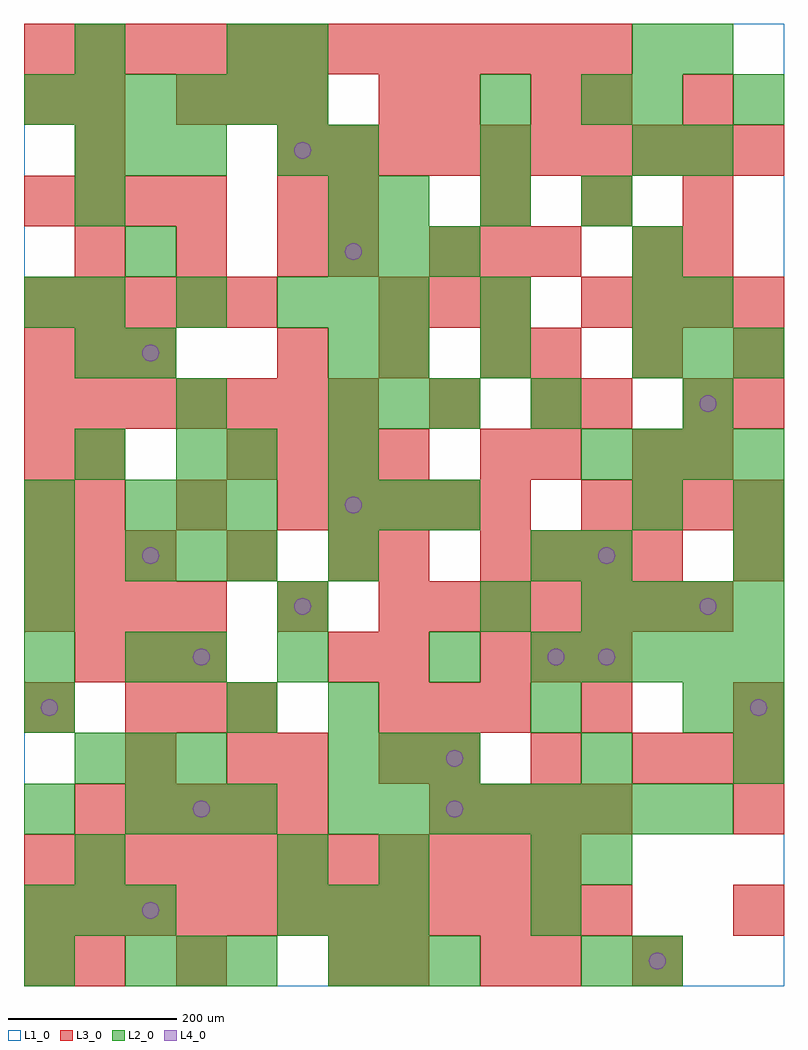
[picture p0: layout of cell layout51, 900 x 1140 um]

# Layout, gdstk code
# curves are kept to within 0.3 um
import gdstk
lib = gdstk.Library(unit=1e-6, precision=1e-09)
def R(c, l, rs):  # rectangles x0, y0, x1, y1
    for r in rs: c.add(gdstk.rectangle(r[:2], r[2:], *l))
def A(c, l, x, y, w, h, nx, ny, dx, dy):  # array of equal rectangles
    R(c, l, [(x+i*dx, y+j*dy, x+i*dx+w, y+j*dy+h) for i in range(nx) for j in range(ny)])
def P(c, l, *ps):  # polygons
    for p in ps: c.add(gdstk.Polygon(p, *l))
L1_0 = (1, 0)
L2_0 = (2, 0)
L3_0 = (3, 0)
L4_0 = (4, 0)

layout51 = lib.new_cell('layout51')
R(layout51, L1_0, [(0,0,900,1140)])
A(layout51, L2_0, 120, 0, 60, 60, 3, 2, 60, 180)
A(layout51, L2_0, 360, 0, 60, 60, 3, 2, 60, 240)
A(layout51, L2_0, 660, 0, 60, 60, 1, 3, 0, 120)
A(layout51, L2_0, 0, 60, 60, 60, 3, 1, 60, 0)
A(layout51, L2_0, 300, 60, 60, 60, 3, 1, 60, 0)
A(layout51, L2_0, 600, 120, 60, 60, 1, 4, 0, 180)
A(layout51, L2_0, 360, 180, 60, 60, 8, 1, 60, 0)
A(layout51, L2_0, 60, 240, 60, 60, 3, 2, 60, 720)
A(layout51, L2_0, 0, 300, 60, 60, 1, 5, 0, 60)
A(layout51, L2_0, 600, 360, 60, 60, 5, 1, 60, 0)
A(layout51, L2_0, 660, 420, 60, 60, 4, 2, 60, 180)
A(layout51, L2_0, 120, 480, 60, 60, 3, 2, 60, 60)
A(layout51, L2_0, 360, 480, 60, 60, 1, 3, 0, 120)
A(layout51, L2_0, 360, 540, 60, 60, 3, 2, 60, 120)
A(layout51, L2_0, 60, 720, 60, 60, 1, 3, 0, 180)
A(layout51, L2_0, 720, 720, 60, 60, 3, 1, 60, 0)
A(layout51, L2_0, 60, 780, 60, 60, 3, 1, 120, 0)
A(layout51, L2_0, 360, 840, 60, 60, 3, 1, 60, 0)
A(layout51, L2_0, 420, 900, 60, 60, 3, 1, 120, 0)
A(layout51, L2_0, 360, 960, 60, 60, 3, 1, 180, 0)
A(layout51, L2_0, 0, 1020, 60, 60, 6, 1, 60, 0)
R(layout51, L2_0, [(0,0,60,60), (720,0,780,60), (600,60,660,120), (60,120,120,180), (300,120,360,180), (420,120,480,180), (0,180,60,240), (840,240,900,300), (240,300,300,360), (360,300,420,360), (780,300,840,360), (840,300,900,360), (120,360,180,420), (180,360,240,420), (300,360,360,420), (480,360,540,420), (300,420,360,480), (540,420,600,480), (660,480,720,540), (840,480,900,540), (720,540,780,600), (840,540,900,600), (60,600,120,660), (180,600,240,660), (240,600,300,660), (180,660,240,720), (780,660,840,720), (120,720,180,780), (420,720,480,780), (540,720,600,780), (0,780,60,840), (360,780,420,840), (420,780,480,840), (540,780,600,840), (720,780,780,840), (780,780,840,840), (120,840,180,900), (720,840,780,900), (360,900,420,960), (300,960,360,1020), (780,960,840,1020), (540,1020,600,1080), (660,1020,720,1080), (720,1020,780,1080), (840,1020,900,1080), (240,1080,300,1140), (300,1080,360,1140), (720,1080,780,1140), (780,1080,840,1140)])
A(layout51, L3_0, 0, 60, 60, 60, 12, 2, 60, 1020)
A(layout51, L3_0, 0, 120, 60, 60, 11, 1, 60, 0)
A(layout51, L3_0, 60, 180, 60, 60, 5, 1, 60, 0)
A(layout51, L3_0, 480, 180, 60, 60, 4, 1, 60, 0)
A(layout51, L3_0, 840, 180, 60, 60, 1, 3, 0, 60)
A(layout51, L3_0, 420, 240, 60, 60, 1, 3, 0, 120)
A(layout51, L3_0, 480, 240, 60, 60, 3, 1, 120, 0)
A(layout51, L3_0, 120, 300, 60, 60, 3, 1, 60, 0)
A(layout51, L3_0, 420, 300, 60, 60, 3, 2, 60, 480)
A(layout51, L3_0, 660, 300, 60, 60, 1, 3, 0, 360)
A(layout51, L3_0, 60, 360, 60, 60, 3, 1, 60, 0)
A(layout51, L3_0, 540, 360, 60, 60, 3, 1, 60, 0)
A(layout51, L3_0, 0, 420, 60, 60, 4, 2, 60, 480)
A(layout51, L3_0, 420, 420, 60, 60, 7, 1, 60, 0)
A(layout51, L3_0, 0, 480, 60, 60, 3, 2, 60, 240)
A(layout51, L3_0, 540, 480, 60, 60, 4, 1, 60, 0)
A(layout51, L3_0, 60, 540, 60, 60, 3, 2, 120, 300)
A(layout51, L3_0, 360, 540, 60, 60, 4, 1, 60, 0)
A(layout51, L3_0, 660, 540, 60, 60, 4, 2, 60, 240)
A(layout51, L3_0, 240, 600, 60, 60, 4, 1, 60, 0)
A(layout51, L3_0, 0, 660, 60, 60, 7, 1, 60, 0)
A(layout51, L3_0, 780, 660, 60, 60, 1, 3, 0, 180)
A(layout51, L3_0, 300, 720, 60, 60, 3, 1, 120, 0)
A(layout51, L3_0, 600, 720, 60, 60, 3, 1, 120, 0)
A(layout51, L3_0, 0, 780, 60, 60, 5, 1, 60, 0)
A(layout51, L3_0, 480, 840, 60, 60, 3, 1, 60, 0)
A(layout51, L3_0, 540, 900, 60, 60, 3, 1, 120, 0)
A(layout51, L3_0, 300, 960, 60, 60, 10, 1, 60, 0)
A(layout51, L3_0, 180, 1020, 60, 60, 3, 1, 60, 0)
R(layout51, L3_0, [(0,0,60,60), (60,0,120,60), (180,0,240,60), (360,0,420,60), (420,0,480,60), (540,0,600,60), (600,0,660,60), (720,0,780,60), (840,60,900,120), (120,240,180,300), (240,240,300,300), (300,240,360,300), (780,240,840,300), (0,300,60,360), (360,360,420,420), (300,420,360,480), (240,480,300,540), (360,480,420,540), (840,480,900,540), (0,540,60,600), (0,600,60,660), (60,600,120,660), (540,600,600,660), (600,600,660,660), (720,600,780,660), (780,600,840,660), (480,660,540,720), (600,660,660,720), (840,660,900,720), (360,840,420,900), (720,840,780,900), (300,900,360,960), (360,900,420,960), (60,960,120,1020), (0,1020,60,1080), (60,1020,120,1080), (420,1020,480,1080), (480,1020,540,1080), (600,1020,660,1080)])
P(layout51, L4_0, [(40,330),(39.239,333.827),(37.071,337.071),(33.827,339.239),(30,340),(26.173,339.239),(22.929,337.071),(20.761,333.827),(20,330),(20.761,326.173),(22.929,322.929),(26.173,320.761),(30,320),(33.827,320.761),(37.071,322.929),(39.239,326.173)],
  [(160,90),(159.239,93.827),(157.071,97.071),(153.827,99.239),(150,100),(146.173,99.239),(142.929,97.071),(140.761,93.827),(140,90),(140.761,86.173),(142.929,82.929),(146.173,80.761),(150,80),(153.827,80.761),(157.071,82.929),(159.239,86.173)],
  [(160,510),(159.239,513.827),(157.071,517.071),(153.827,519.239),(150,520),(146.173,519.239),(142.929,517.071),(140.761,513.827),(140,510),(140.761,506.173),(142.929,502.929),(146.173,500.761),(150,500),(153.827,500.761),(157.071,502.929),(159.239,506.173)],
  [(160,750),(159.239,753.827),(157.071,757.071),(153.827,759.239),(150,760),(146.173,759.239),(142.929,757.071),(140.761,753.827),(140,750),(140.761,746.173),(142.929,742.929),(146.173,740.761),(150,740),(153.827,740.761),(157.071,742.929),(159.239,746.173)],
  [(220,210),(219.239,213.827),(217.071,217.071),(213.827,219.239),(210,220),(206.173,219.239),(202.929,217.071),(200.761,213.827),(200,210),(200.761,206.173),(202.929,202.929),(206.173,200.761),(210,200),(213.827,200.761),(217.071,202.929),(219.239,206.173)],
  [(220,390),(219.239,393.827),(217.071,397.071),(213.827,399.239),(210,400),(206.173,399.239),(202.929,397.071),(200.761,393.827),(200,390),(200.761,386.173),(202.929,382.929),(206.173,380.761),(210,380),(213.827,380.761),(217.071,382.929),(219.239,386.173)],
  [(340,450),(339.239,453.827),(337.071,457.071),(333.827,459.239),(330,460),(326.173,459.239),(322.929,457.071),(320.761,453.827),(320,450),(320.761,446.173),(322.929,442.929),(326.173,440.761),(330,440),(333.827,440.761),(337.071,442.929),(339.239,446.173)],
  [(340,990),(339.239,993.827),(337.071,997.071),(333.827,999.239),(330,1000),(326.173,999.239),(322.929,997.071),(320.761,993.827),(320,990),(320.761,986.173),(322.929,982.929),(326.173,980.761),(330,980),(333.827,980.761),(337.071,982.929),(339.239,986.173)],
  [(400,570),(399.239,573.827),(397.071,577.071),(393.827,579.239),(390,580),(386.173,579.239),(382.929,577.071),(380.761,573.827),(380,570),(380.761,566.173),(382.929,562.929),(386.173,560.761),(390,560),(393.827,560.761),(397.071,562.929),(399.239,566.173)],
  [(400,870),(399.239,873.827),(397.071,877.071),(393.827,879.239),(390,880),(386.173,879.239),(382.929,877.071),(380.761,873.827),(380,870),(380.761,866.173),(382.929,862.929),(386.173,860.761),(390,860),(393.827,860.761),(397.071,862.929),(399.239,866.173)],
  [(520,210),(519.239,213.827),(517.071,217.071),(513.827,219.239),(510,220),(506.173,219.239),(502.929,217.071),(500.761,213.827),(500,210),(500.761,206.173),(502.929,202.929),(506.173,200.761),(510,200),(513.827,200.761),(517.071,202.929),(519.239,206.173)],
  [(520,270),(519.239,273.827),(517.071,277.071),(513.827,279.239),(510,280),(506.173,279.239),(502.929,277.071),(500.761,273.827),(500,270),(500.761,266.173),(502.929,262.929),(506.173,260.761),(510,260),(513.827,260.761),(517.071,262.929),(519.239,266.173)],
  [(640,390),(639.239,393.827),(637.071,397.071),(633.827,399.239),(630,400),(626.173,399.239),(622.929,397.071),(620.761,393.827),(620,390),(620.761,386.173),(622.929,382.929),(626.173,380.761),(630,380),(633.827,380.761),(637.071,382.929),(639.239,386.173)],
  [(700,390),(699.239,393.827),(697.071,397.071),(693.827,399.239),(690,400),(686.173,399.239),(682.929,397.071),(680.761,393.827),(680,390),(680.761,386.173),(682.929,382.929),(686.173,380.761),(690,380),(693.827,380.761),(697.071,382.929),(699.239,386.173)],
  [(700,510),(699.239,513.827),(697.071,517.071),(693.827,519.239),(690,520),(686.173,519.239),(682.929,517.071),(680.761,513.827),(680,510),(680.761,506.173),(682.929,502.929),(686.173,500.761),(690,500),(693.827,500.761),(697.071,502.929),(699.239,506.173)],
  [(760,30),(759.239,33.827),(757.071,37.071),(753.827,39.239),(750,40),(746.173,39.239),(742.929,37.071),(740.761,33.827),(740,30),(740.761,26.173),(742.929,22.929),(746.173,20.761),(750,20),(753.827,20.761),(757.071,22.929),(759.239,26.173)],
  [(820,450),(819.239,453.827),(817.071,457.071),(813.827,459.239),(810,460),(806.173,459.239),(802.929,457.071),(800.761,453.827),(800,450),(800.761,446.173),(802.929,442.929),(806.173,440.761),(810,440),(813.827,440.761),(817.071,442.929),(819.239,446.173)],
  [(820,690),(819.239,693.827),(817.071,697.071),(813.827,699.239),(810,700),(806.173,699.239),(802.929,697.071),(800.761,693.827),(800,690),(800.761,686.173),(802.929,682.929),(806.173,680.761),(810,680),(813.827,680.761),(817.071,682.929),(819.239,686.173)],
  [(880,330),(879.239,333.827),(877.071,337.071),(873.827,339.239),(870,340),(866.173,339.239),(862.929,337.071),(860.761,333.827),(860,330),(860.761,326.173),(862.929,322.929),(866.173,320.761),(870,320),(873.827,320.761),(877.071,322.929),(879.239,326.173)])

lib.write_gds('layout51.gds')
